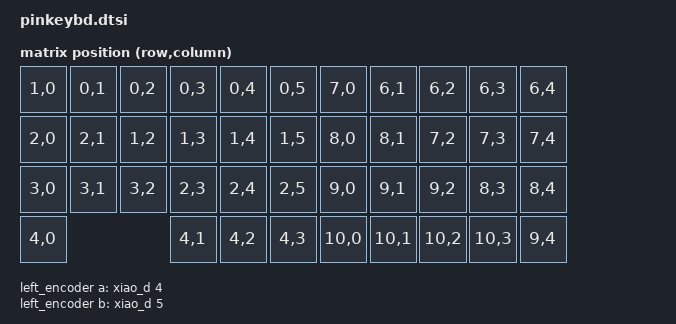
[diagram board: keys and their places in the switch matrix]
#include <dt-bindings/zmk/matrix_transform.h>
#include <dt-bindings/input/input-event-codes.h>
#include <input/processors.dtsi>
#include "pinkeybd-layouts.dtsi"

/ {
    chosen {
        zmk,kscan = &kscan0;
        zmk,physical-layout = &default_layout;
    };

    kscan0: kscan {
        compatible = "zmk,kscan-gpio-charlieplex";
        wakeup-source;

        interrupt-gpios = <&xiao_d 0 (GPIO_ACTIVE_HIGH | GPIO_PULL_DOWN)>;

        gpios
            = <&xiao_d 1 GPIO_ACTIVE_HIGH>
            , <&xiao_d 2 GPIO_ACTIVE_HIGH>
            , <&xiao_d 3 GPIO_ACTIVE_HIGH>
            , <&xiao_d 6 GPIO_ACTIVE_HIGH>
            , <&xiao_d 7 GPIO_ACTIVE_HIGH>
            , <&xiao_d 8 GPIO_ACTIVE_HIGH>
            ;
    };

    default_transform: matrix_transform {
        compatible = "zmk,matrix-transform";
        rows = <10>;
        columns = <6>;
        map = <
            RC(1,0) RC(0,1) RC(0,2) RC(0,3) RC(0,4) RC(0,5)  RC( 7,0) RC( 6,1) RC( 6,2) RC( 6,3) RC(6,4)
            RC(2,0) RC(2,1) RC(1,2) RC(1,3) RC(1,4) RC(1,5)  RC( 8,0) RC( 8,1) RC( 7,2) RC( 7,3) RC(7,4)
            RC(3,0) RC(3,1) RC(3,2) RC(2,3) RC(2,4) RC(2,5)  RC( 9,0) RC( 9,1) RC( 9,2) RC( 8,3) RC(8,4)
            RC(4,0)                 RC(4,1) RC(4,2) RC(4,3)  RC(10,0) RC(10,1) RC(10,2) RC(10,3) RC(9,4)
        >;
    };

    left_encoder: encoder_left {
        compatible = "alps,ec11";
        a-gpios = <&xiao_d 4 (GPIO_ACTIVE_HIGH | GPIO_PULL_UP)>;
        b-gpios = <&xiao_d 5 (GPIO_ACTIVE_HIGH | GPIO_PULL_UP)>;
        steps = <24>;
        status = "disabled";
    };

    sensors: sensors {
        compatible = "zmk,keymap-sensors";
        sensors = <&left_encoder>;
        triggers-per-rotation = <12>;
    };

    trackball_listener: trackball_listener_0 {
        compatible = "zmk,input-listener";
        status = "disabled";
    };
};
